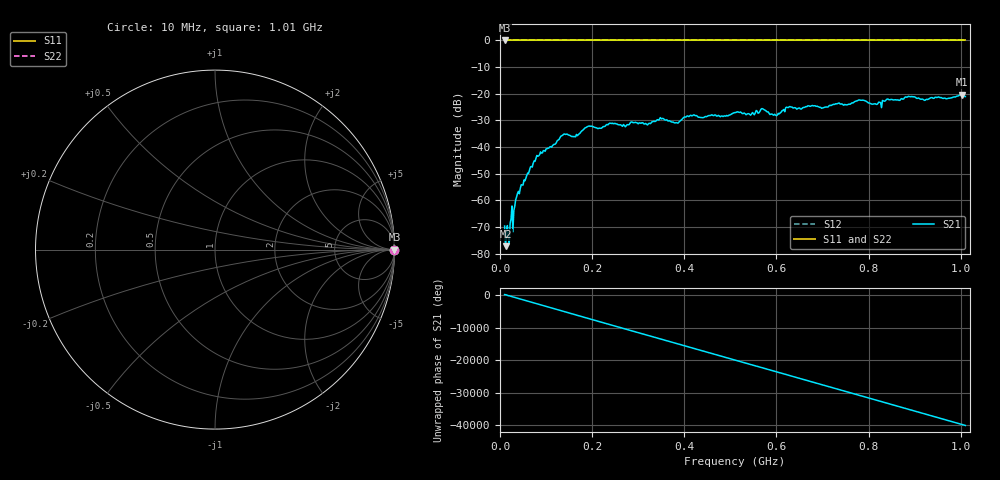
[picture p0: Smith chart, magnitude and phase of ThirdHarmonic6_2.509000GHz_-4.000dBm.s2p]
! 8/17/2025 4:51:44 AM
! C:\ANRITSUVNA\TEMP\TEMP.S2P
! CHANNEL.1
! TR.MEASUREMENT
! RAW.DATA
! RF.CORRECTION.OFF
! AVERAGING.OFF
! IF.BANDWIDTH: 5KHZ
! SWEEPTYPE:  FREQ.SWEEP(Linear)
! Reference Plane Port Info
! PORT:  PORT1  PORT2
! DISTANCE:  0  m  0  m
! TIME:  0  s  0  s
! PHASE.OFFSET:  0  deg.  0  deg.
! LOSS:  0  dB  0  dB
! REF.LOSS:  0  dB  0  dB
! REF.FREQ:  0  Hz  0  Hz
! Power Info
! POWER:  -20  dBm  -20  dBm
! EFF.POWER:  -20  dBm  -20  dBm
! SOURCE.ATTEN:  0  dB  0  dB
! TEST.ATTEN:  0  dB  0  dB
# GHZ S RI R 50.0
! FREQ.GHZ  S11RE  S11IM  S21RE  S21IM  S12RE  S12IM  S22RE  S22IM
!; PortSelection: Port_12
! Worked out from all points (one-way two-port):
!   501 points, 10 MHz to 1.01 GHz, reference 50 ohm
!   highest |S21| = -20.37 dB at 1.002 GHz (marker M1); lowest = -77.1 dB at 12 MHz (marker M2)
!   lowest |S11| = 0.0 dB at 10 MHz (marker M3)
!   |S11| at or under -10 dB: nowhere
!   |S22| runs from 0.0 to 0.0 dB; largest |S21 - S12| = 1.1
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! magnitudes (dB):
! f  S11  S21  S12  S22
! 10 MHz  0.0  -69.6  0.0  0.0
! 12 MHz  0.0  -77.1  0.0  0.0
! 16 MHz  0.0  -69.4  0.0  0.0
! 38 MHz  0.0  -57.4  0.0  0.0
! 84 MHz  0.0  -43.3  0.0  0.0
! 136 MHz  0.0  -35.5  0.0  0.0
! 160 MHz  0.0  -36.1  0.0  0.0
! 178 MHz  0.0  -33.9  0.0  0.0
! 194 MHz  0.0  -32.1  0.0  0.0
! 322 MHz  0.0  -31.3  0.0  0.0
! 344 MHz  0.0  -29.8  0.0  0.0
! 382 MHz  0.0  -30.8  0.0  0.0
! 410 MHz  0.0  -28.5  0.0  0.0
! 510 MHz  0.0  -27.0  0.0  0.0
! 548 MHz  0.0  -27.0  0.0  0.0
! 570 MHz  0.0  -25.6  0.0  0.0
! 598 MHz  0.0  -28.0  0.0  0.0
! 624 MHz  0.0  -25.1  0.0  0.0
! 678 MHz  0.0  -24.4  0.0  0.0
! 844 MHz  0.0  -22.2  0.0  0.0
! 1.002 GHz  0.0  -20.4  0.0  0.0
! 1.01 GHz  0.0  -21.0  0.0  0.0
